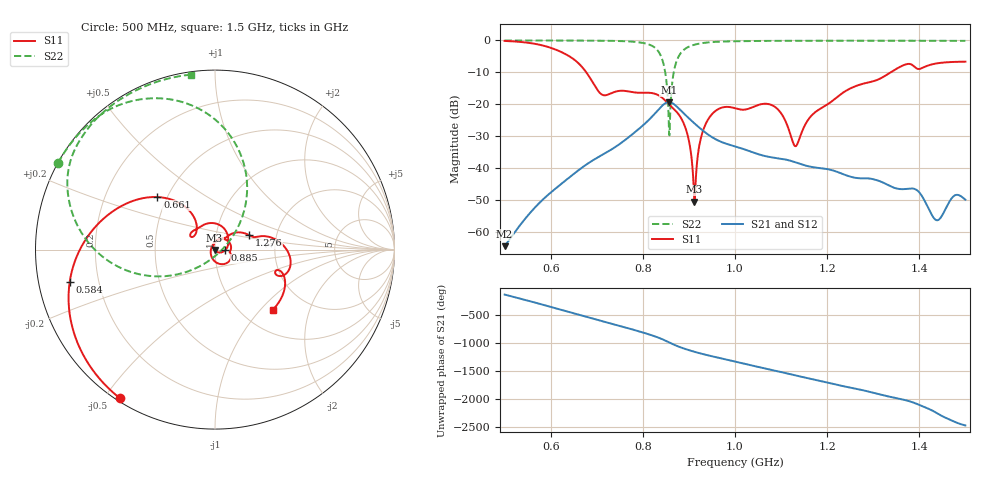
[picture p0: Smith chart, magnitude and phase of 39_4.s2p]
! TOUCHSTONE file generated by CST MICROWAVE STUDIO
! Date and time: Fri Oct  2 17:00:59 2020
! Project name: Scenario_1_Free_Space_out_of_line.cst
! Parameters = {Lambda=346.42; Step_1=17.321; dy1=-311.318; dx1=693; L_HA=400; MT=2.54; Rad_Dielectric=30; Rad_Lower=7.3; Rad_Upper=30; a_HA=580; a_WG=246; b_HA=500; b_WG=121; c_HA=0; c_WG=187; d_feed=85; h_feed=15; h_lower=18; h_upper=40}
! Header version: 2018
! Port assignment regex: !\s*Touchstone port\s*([0-9]+)\s*=\s*(CST MWS port|CST DS port)\s*([0-9]+|Zmin|Zmax)\s*\(\"(.*)\"\)(\s*mode\s*([0-9]+))?.*
! Touchstone port assignment:
! Touchstone port 1 = CST MWS port 1 ("")
! Touchstone port 2 = CST MWS port 2 ("")
# GHz S DB R 50
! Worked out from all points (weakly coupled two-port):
!   1003 points, 500 MHz to 1.5 GHz, reference 50 ohm
!   highest |S21| = -19.34 dB at 856 MHz (marker M1); lowest = -64.4 dB at 500 MHz (marker M2)
!   lowest |S11| = -50.6 dB at 912 MHz (marker M3), VSWR 1.01, Z = 49.8 - j0.196 ohm
!   |S11| at or under -10 dB: 677.3 MHz to 1.338 GHz (660.4 MHz wide, 65.6 % of centre)
!   |S22| runs from -29.7 to 0.0 dB; largest |S21 - S12| = 7.3e-06
!   S11 on the Smith chart (normalised r, x): 500 MHz: 0.01, -0.55; 584 MHz: 0.09, -0.11; 661 MHz: 0.44, +0.32; 885 MHz: 1.12, -0.01; 1.276 GHz: 1.45, +0.24; 1.5 GHz: 1.37, -1.17
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0.5  -0.15 -122.6  -64.44 -136.0  -64.44 -136.0  -0.01 151.1
0.584  -1.63 -167.4  -49.71 40.1  -49.71 40.1  -0.02 145.3
0.661  -7.24 137.6  -40.58 -135.0  -40.58 -135.0  -0.04 138.9
0.667  -8.14 133.1  -39.94 -148.9  -39.94 -148.9  -0.04 138.3
0.713  -17.08 139.6  -35.75 105.0  -35.75 105.0  -0.09 133.1
0.789  -16.37 127.3  -28.00 -65.2  -28.00 -65.2  -0.55 117.2
0.834  -17.17 78.1  -21.63 176.2  -21.63 176.2  -3.51 84.8
0.847  -18.59 57.5  -19.84 130.8  -19.84 130.8  -8.75 60.7
0.856  -19.88 44.5  -19.34 95.5  -19.34 95.5  -24.23 19.0
0.869  -21.69 25.6  -20.14 45.7  -20.14 45.7  -8.60 -156.4
0.885  -24.87 -3.8  -22.31 -5.6  -22.31 -5.6  -3.49 -179.9
0.912  -50.55 -138.5  -25.98 -75.5  -25.98 -75.5  -1.33 161.5
0.94  -25.15 76.6  -29.32 -135.9  -29.32 -135.9  -0.64 151.6
1  -21.23 -2.0  -33.19 110.9  -33.19 110.9  -0.26 140.2
1.084  -20.56 -59.5  -36.72 -45.6  -36.72 -45.6  -0.13 131.1
1.131  -33.14 165.4  -38.17 -136.1  -38.17 -136.1  -0.11 127.1
1.167  -23.40 61.5  -39.65 159.3  -39.65 159.3  -0.09 124.2
1.276  -13.63 22.6  -43.20 -37.4  -43.20 -37.4  -0.08 115.8
1.334  -10.33 13.7  -45.43 -153.0  -45.43 -153.0  -0.09 111.5
1.395  -8.83 -21.6  -46.93 75.4  -46.93 75.4  -0.10 106.7
1.438  -7.19 -26.7  -56.33 -87.2  -56.33 -87.2  -0.11 103.2
1.5  -6.65 -46.2  -49.89 52.5  -49.90 52.5  -0.14 97.9
